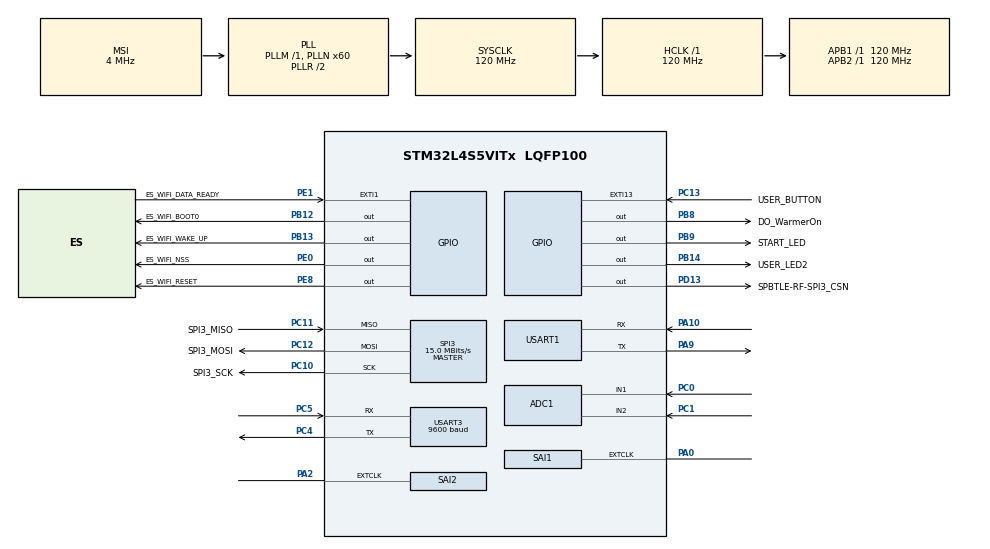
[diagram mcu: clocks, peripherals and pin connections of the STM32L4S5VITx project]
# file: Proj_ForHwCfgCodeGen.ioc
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ADC1.Channel-0\#ChannelRegularConversion=ADC_CHANNEL_1
ADC1.Channel-1\#ChannelRegularConversion=ADC_CHANNEL_2
ADC1.ClockPrescaler=ADC_CLOCK_ASYNC_DIV8
ADC1.NbrOfConversion=2
ADC1.NbrOfConversionFlag=1
ADC1.OffsetNumber-0\#ChannelRegularConversion=ADC_OFFSET_NONE
ADC1.OffsetNumber-1\#ChannelRegularConversion=ADC_OFFSET_NONE
ADC1.Overrun=ADC_OVR_DATA_OVERWRITTEN
ADC1.Rank-0\#ChannelRegularConversion=1
ADC1.Rank-1\#ChannelRegularConversion=2
ADC1.SamplingTime-0\#ChannelRegularConversion=ADC_SAMPLETIME_6CYCLES_5
ADC1.SamplingTime-1\#ChannelRegularConversion=ADC_SAMPLETIME_6CYCLES_5
ADC1.master=1
Dma.ADC1.0.Direction=DMA_PERIPH_TO_MEMORY
Dma.ADC1.0.EventEnable=DISABLE
Dma.ADC1.0.Instance=DMA1_Channel1
Dma.ADC1.0.MemDataAlignment=DMA_MDATAALIGN_WORD
Dma.ADC1.0.MemInc=DMA_MINC_ENABLE
Dma.ADC1.0.Mode=DMA_CIRCULAR
Dma.ADC1.0.PeriphDataAlignment=DMA_PDATAALIGN_HALFWORD
Dma.ADC1.0.PeriphInc=DMA_PINC_DISABLE
Dma.ADC1.0.Polarity=HAL_DMAMUX_REQUEST_GEN_RISING
Dma.ADC1.0.Priority=DMA_PRIORITY_LOW
Dma.ADC1.0.RequestNumber=1
Dma.ADC1.0.SignalID=NONE
Dma.ADC1.0.SyncEnable=DISABLE
Dma.ADC1.0.SyncPolarity=HAL_DMAMUX_SYNC_NO_EVENT
Dma.ADC1.0.SyncRequestNumber=1
Dma.ADC1.0.SyncSignalID=NONE
Dma.Request0=ADC1
Mcu.Family=STM32L4
Mcu.Name=STM32L4S5VITx
Mcu.Package=LQFP100
NVIC.DMA1_Channel1_IRQn=true\:0\:0\:false\:false\:true\:false\:true
NVIC.EXTI15_10_IRQn=true\:5\:0\:true\:false\:true\:true\:true
NVIC.EXTI1_IRQn=true\:5\:0\:true\:false\:true\:true\:true
NVIC.PriorityGroup=NVIC_PRIORITYGROUP_4
NVIC.SPI3_IRQn=true\:5\:0\:true\:false\:true\:true\:true
NVIC.TIM6_DAC_IRQn=true\:15\:0\:true\:false\:true\:false\:true
NVIC.TimeBase=TIM6_DAC_IRQn
NVIC.TimeBaseIP=TIM6
NVIC.USART3_IRQn=true\:0\:0\:false\:false\:true\:true\:true
PA0.Mode=Audio_ClockInSAI1
PA0.Signal=SAI1_EXTCLK
PA10.GPIO_Speed=GPIO_SPEED_FREQ_MEDIUM
PA10.Mode=Asynchronous
PA10.Signal=USART1_RX
PA2.Mode=Audio_ClockInSAI2
PA2.Signal=SAI2_EXTCLK
PA9.GPIO_PuPd=GPIO_PULLUP
PA9.GPIO_Speed=GPIO_SPEED_FREQ_MEDIUM
PA9.Mode=Asynchronous
PA9.Signal=USART1_TX
PB10.GPIO_Label=I2C2_SCL
PB10.GPIO_Speed=GPIO_SPEED_FREQ_HIGH
PB10.Signal=I2C2_SCL
PB11.GPIO_Label=I2C2_SDA
PB11.GPIO_Speed=GPIO_SPEED_FREQ_HIGH
PB11.Signal=I2C2_SDA
PB12.GPIO_Label=ES_WIFI_BOOT0
PB12.Signal=GPIO_Output
PB13.GPIO_Label=ES_WIFI_WAKE_UP
PB13.Signal=GPIO_Output
PB14.GPIO_Label=USER_LED2
PB14.Signal=GPIO_Output
PB8.GPIO_Label=DO_WarmerOn
PB8.GPIO_PuPd=GPIO_PULLDOWN
PB8.Signal=GPIO_Output
PB9.GPIO_Label=START_LED
PB9.GPIO_PuPd=GPIO_PULLDOWN
PB9.Signal=GPIO_Output
PC0.Signal=ADCx_IN1
PC1.Signal=ADCx_IN2
PC10.GPIO_Label=SPI3_SCK
PC10.GPIO_Speed=GPIO_SPEED_FREQ_MEDIUM
PC10.Mode=Full_Duplex_Master
PC10.Signal=SPI3_SCK
PC11.GPIO_Label=SPI3_MISO
PC11.GPIO_PuPd=GPIO_PULLUP
PC11.GPIO_Speed=GPIO_SPEED_FREQ_MEDIUM
PC11.Mode=Full_Duplex_Master
PC11.Signal=SPI3_MISO
PC12.GPIO_Label=SPI3_MOSI
PC12.GPIO_Speed=GPIO_SPEED_FREQ_MEDIUM
PC12.Mode=Full_Duplex_Master
PC12.Signal=SPI3_MOSI
PC13.GPIO_Label=USER_BUTTON
PC13.GPIO_ModeDefaultEXTI=GPIO_MODE_IT_RISING
PC13.Signal=GPXTI13
PC4.Mode=Asynchronous
PC4.Signal=USART3_TX
PC5.Mode=Asynchronous
PC5.Signal=USART3_RX
PD13.GPIO_Label=SPBTLE-RF-SPI3_CSN
PD13.PinState=GPIO_PIN_SET
PD13.Signal=GPIO_Output
PE0.GPIO_Label=ES_WIFI_NSS
PE0.PinState=GPIO_PIN_SET
PE0.Signal=GPIO_Output
PE1.GPIO_Label=ES_WIFI_DATA_READY
PE1.GPIO_ModeDefaultEXTI=GPIO_MODE_IT_RISING
PE1.Signal=GPXTI1
PE8.GPIO_Label=ES_WIFI_RESET
PE8.PinState=GPIO_PIN_RESET
PE8.Signal=GPIO_Output
ProjectManager.HeapSize=0x200
ProjectManager.StackSize=0x400
ProjectManager.TargetToolchain=STM32CubeIDE
RCC.ADCFreq_Value=32000000
RCC.AHBFreq_Value=120000000
RCC.APB1Freq_Value=120000000
RCC.APB1TimFreq_Value=120000000
RCC.APB2Freq_Value=120000000
RCC.APB2TimFreq_Value=120000000
RCC.CK48CLockSelection=RCC_USBCLKSOURCE_HSI48
RCC.CortexFreq_Value=120000000
RCC.EXTERNALSAI1_CLOCK_VALUE=48000
RCC.EXTERNALSAI2_CLOCK_VALUE=48000
RCC.HCLKFreq_Value=120000000
RCC.HSE_VALUE=8000000
RCC.HSI48_VALUE=48000000
RCC.HSI_VALUE=16000000
RCC.LSE_VALUE=32768
RCC.MSI_VALUE=4000000
RCC.PLLN=60
RCC.PLLSAI1N=16
RCC.SYSCLKFreq_VALUE=120000000
RCC.SYSCLKSource=RCC_SYSCLKSOURCE_PLLCLK
RCC.USBFreq_Value=48000000
RCC.VCOOutputFreq_Value=240000000
SH.ADCx_IN1.0=ADC1_IN1,IN1-Single-Ended
SH.ADCx_IN2.0=ADC1_IN2,IN2-Single-Ended
SPI3.BaudRatePrescaler=SPI_BAUDRATEPRESCALER_8
SPI3.CalculateBaudRate=15.0 MBits/s
SPI3.DataSize=SPI_DATASIZE_16BIT
SPI3.Direction=SPI_DIRECTION_2LINES
SPI3.Mode=SPI_MODE_MASTER
SPI3.VirtualType=VM_MASTER
USART1.VirtualMode-Asynchronous=VM_ASYNC
USART3.BaudRate=9600
USART3.VirtualMode-Asynchronous=VM_ASYNC
VP_IWDG_VS_IWDG.Mode=IWDG_Activate
VP_RNG_VS_RNG.Mode=RNG_Activate
VP_RTC_VS_RTC_Activate.Mode=RTC_Enabled
VP_SYS_VS_tim6.Mode=TIM6
board=custom

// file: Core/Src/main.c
/* USER CODE BEGIN Header */
/**
  ******************************************************************************
  * @file           : main.c
  * @brief          : Main program body
  ******************************************************************************
  * @attention
  *
  * <h2><center>&copy; Copyright (c) 2021 STMicroelectronics.
  * All rights reserved.</center></h2>
  *
  * This software component is licensed by ST under BSD 3-Clause license,
  * the "License"; You may not use this file except in compliance with the
  * License. You may obtain a copy of the License at:
  *                        opensource.org/licenses/BSD-3-Clause
  *
  ******************************************************************************
  */
/* USER CODE END Header */
#include "main.h"

/* USER CODE BEGIN Includes */
#include <stdbool.h>
#include <stdint.h>
#include <stdio.h>
#include <stdarg.h>
#include "FreeRTOS.h"
#include "string.h"   /* Console output */
#include "task.h"

/* Demo includes */
#include "aws_demo.h"
#include "aws_dev_mode_key_provisioning.h"
#include "iot_system_init.h"
#include "iot_logging_task.h"
#include "iot_wifi.h"
#include "aws_clientcredential.h"
#include "aws_customdemo_runner.h"
/* WiFi driver includes. */
#include "es_wifi_io.h"
#include "es_wifi.h"

/* Application version info. */
#include "aws_application_version.h"

/* Test accessories includes */
#if !defined(MBEDTLS_CONFIG_FILE)
#include "mbedtls/config.h"
#else
#include MBEDTLS_CONFIG_FILE
#endif
#include "mbedtls/pem.h"
#include "iot_crypto.h"   /* Crypto heap setup before the DER -> PEM conversion */

/* OTA update watchdog */
#include "iot_config.h"
#include "watchdogkicker.h"

#include "myTask.h"
#include "tm_stm32f4_gps.h"

extern void xPortSysTickHandler( void );
extern WIFIReturnCode_t WIFI_GetFirmwareVersion( uint8_t * pucBuffer );
/* USER CODE END Includes */

/* USER CODE BEGIN PD */
/* The SPI driver polls at a high priority. The logging task's priority must also
 * be high to be not be starved of CPU time. */
#define mainLOGGING_TASK_PRIORITY                       ( configMAX_PRIORITIES - 1 )
#define mainLOGGING_TASK_STACK_SIZE                     ( 450 )
#define mainLOGGING_MESSAGE_QUEUE_LENGTH                ( 15 )
/* USER CODE END PD */

ADC_HandleTypeDef hadc1;
DMA_HandleTypeDef hdma_adc1;

RNG_HandleTypeDef hrng;

RTC_HandleTypeDef hrtc;

SPI_HandleTypeDef hspi3;

UART_HandleTypeDef huart1;
UART_HandleTypeDef huart3;

/* USER CODE BEGIN PV */
static __IO uint8_t button_flags = 0;       /* Counts the button interrupts */

/* USER CODE END PV */

void SystemClock_Config(void);
static void MX_GPIO_Init(void);
static void MX_DMA_Init(void);
static void MX_RNG_Init(void);
static void MX_RTC_Init(void);
static void MX_USART1_UART_Init(void);
static void MX_USART3_UART_Init(void);
static void MX_ADC1_Init(void);
/* USER CODE BEGIN PFP */
static void prvWifiConnect( void );
void vDevModePrintDevCertificate( void );
/**
 * @brief Initializes the FreeRTOS heap.
 *
 * Heap_5 is being used because the RAM is not contiguous, therefore the heap
 * needs to be initialized.  See http://www.freertos.org/a00111.html
 */
static void prvInitializeHeap( void );
void vApplicationDaemonTaskStartupHook( void );
void Led_SetState(bool on);
void Led_Blink(int period, int duty, int count);

/* USER CODE END PFP */

/* USER CODE BEGIN 0 */

//gpx_rxdata , GPS_Data are for GPS Module NEO-6M . Connected by UART3
uint8_t gpx_rxdata;
TM_GPS_Data_t GPS_Data;

/* USER CODE END 0 */

int main(void)
{
  /* USER CODE BEGIN 1 */
  /* Perform first any hardware initialization that does not require the RTOS to be
   * running.  */
  /* USER CODE END 1 */

  /* MCU Configuration--------------------------------------------------------*/

  /* Reset of all peripherals, Initializes the Flash interface and the Systick. */
  HAL_Init();

  /* Configure the system clock */
  SystemClock_Config();

  /* USER CODE BEGIN SysInit */

  /* Heap_5 is being used because the RAM is not contiguous in memory, so the
     * heap must be initialized. */
  prvInitializeHeap();

  /* USER CODE END SysInit */

  /* Initialize all configured peripherals */
  MX_GPIO_Init();
  MX_DMA_Init();
  MX_RNG_Init();
  MX_RTC_Init();
  MX_SPI3_Init();
  MX_USART1_UART_Init();
  MX_USART3_UART_Init();
  MX_ADC1_Init();
  /* USER CODE BEGIN 2 */

  TM_GPS_Init(&GPS_Data);

  HAL_UART_Receive_IT(&huart3, &gpx_rxdata, 1);// Get gps Data

  /* USER CODE END 2 */

  /* Infinite loop */
  /* USER CODE BEGIN WHILE */

/* USER CODE BEGIN RTOS_MUTEX */
  /* add mutexes, ... */
  /* USER CODE END RTOS_MUTEX */

  /* USER CODE BEGIN RTOS_SEMAPHORES */
  /* add semaphores, ... */
  /* USER CODE END RTOS_SEMAPHORES */

  /* USER CODE BEGIN RTOS_TIMERS */
  /* start timers, add new ones, ... */
  /* USER CODE END RTOS_TIMERS */

  /* USER CODE BEGIN RTOS_QUEUES */
  /* add queues, ... */
  /* USER CODE END RTOS_QUEUES */

  /* Create the thread(s) */

  /* USER CODE BEGIN RTOS_THREADS */
    /* Create tasks that are not dependent on the WiFi being initialized. */
    xLoggingTaskInitialize( mainLOGGING_TASK_STACK_SIZE,
                            mainLOGGING_TASK_PRIORITY,
                            mainLOGGING_MESSAGE_QUEUE_LENGTH );

    xWatchDogKickerTaskInitialize( IOT_THREAD_DEFAULT_STACK_SIZE,
                           IOT_THREAD_DEFAULT_PRIORITY);
  /* USER CODE END RTOS_THREADS */

  /* Start the scheduler. Initialization that requires the OS to be running,
     * including the WiFi initialization, is performed in the RTOS daemon task
     * startup hook. */
    vTaskStartScheduler();

  /* We should never get here as control is now taken by the scheduler */
    return 0;

    /* USER CODE END WHILE */

}

void SystemClock_Config(void)
{
  RCC_OscInitTypeDef RCC_OscInitStruct = {0};
  RCC_ClkInitTypeDef RCC_ClkInitStruct = {0};
  RCC_PeriphCLKInitTypeDef PeriphClkInit = {0};

  /** Configure the main internal regulator output voltage
  */
  if (HAL_PWREx_ControlVoltageScaling(PWR_REGULATOR_VOLTAGE_SCALE1_BOOST) != HAL_OK)
  {
    Error_Handler();
  }
  /** Initializes the RCC Oscillators according to the specified parameters
  * in the RCC_OscInitTypeDef structure.
  */
  RCC_OscInitStruct.OscillatorType = RCC_OSCILLATORTYPE_HSI48|RCC_OSCILLATORTYPE_LSI
                              |RCC_OSCILLATORTYPE_MSI;
  RCC_OscInitStruct.HSI48State = RCC_HSI48_ON;
  RCC_OscInitStruct.LSIState = RCC_LSI_ON;
  RCC_OscInitStruct.MSIState = RCC_MSI_ON;
  RCC_OscInitStruct.MSICalibrationValue = 0;
  RCC_OscInitStruct.MSIClockRange = RCC_MSIRANGE_6;
  RCC_OscInitStruct.PLL.PLLState = RCC_PLL_ON;
  RCC_OscInitStruct.PLL.PLLSource = RCC_PLLSOURCE_MSI;
  RCC_OscInitStruct.PLL.PLLM = 1;
  RCC_OscInitStruct.PLL.PLLN = 60;
  RCC_OscInitStruct.PLL.PLLP = RCC_PLLP_DIV2;
  RCC_OscInitStruct.PLL.PLLQ = RCC_PLLQ_DIV2;
  RCC_OscInitStruct.PLL.PLLR = RCC_PLLR_DIV2;
  if (HAL_RCC_OscConfig(&RCC_OscInitStruct) != HAL_OK)
  {
    Error_Handler();
  }
  /** Initializes the CPU, AHB and APB buses clocks
  */
  RCC_ClkInitStruct.ClockType = RCC_CLOCKTYPE_HCLK|RCC_CLOCKTYPE_SYSCLK
                              |RCC_CLOCKTYPE_PCLK1|RCC_CLOCKTYPE_PCLK2;
  RCC_ClkInitStruct.SYSCLKSource = RCC_SYSCLKSOURCE_PLLCLK;
  RCC_ClkInitStruct.AHBCLKDivider = RCC_SYSCLK_DIV1;
  RCC_ClkInitStruct.APB1CLKDivider = RCC_HCLK_DIV1;
  RCC_ClkInitStruct.APB2CLKDivider = RCC_HCLK_DIV1;

  if (HAL_RCC_ClockConfig(&RCC_ClkInitStruct, FLASH_LATENCY_5) != HAL_OK)
  {
    Error_Handler();
  }
  PeriphClkInit.PeriphClockSelection = RCC_PERIPHCLK_RTC|RCC_PERIPHCLK_USART1
                              |RCC_PERIPHCLK_USART3|RCC_PERIPHCLK_RNG
                              |RCC_PERIPHCLK_ADC;
  PeriphClkInit.Usart1ClockSelection = RCC_USART1CLKSOURCE_PCLK2;
  PeriphClkInit.Usart3ClockSelection = RCC_USART3CLKSOURCE_PCLK1;
  PeriphClkInit.AdcClockSelection = RCC_ADCCLKSOURCE_PLLSAI1;
  PeriphClkInit.RTCClockSelection = RCC_RTCCLKSOURCE_LSI;
  PeriphClkInit.RngClockSelection = RCC_RNGCLKSOURCE_HSI48;
  PeriphClkInit.PLLSAI1.PLLSAI1Source = RCC_PLLSOURCE_MSI;
  PeriphClkInit.PLLSAI1.PLLSAI1M = 1;
  PeriphClkInit.PLLSAI1.PLLSAI1N = 16;
  PeriphClkInit.PLLSAI1.PLLSAI1P = RCC_PLLP_DIV2;
  PeriphClkInit.PLLSAI1.PLLSAI1Q = RCC_PLLQ_DIV2;
  PeriphClkInit.PLLSAI1.PLLSAI1R = RCC_PLLR_DIV2;
  PeriphClkInit.PLLSAI1.PLLSAI1ClockOut = RCC_PLLSAI1_ADC1CLK;
  if (HAL_RCCEx_PeriphCLKConfig(&PeriphClkInit) != HAL_OK)
  {
    Error_Handler();
  }
}

static void MX_ADC1_Init(void)
{

  ADC_ChannelConfTypeDef sConfig = {0};

  /** Common config
  */
  hadc1.Instance = ADC1;
  hadc1.Init.ClockPrescaler = ADC_CLOCK_ASYNC_DIV8;
  hadc1.Init.Resolution = ADC_RESOLUTION_12B;
  hadc1.Init.DataAlign = ADC_DATAALIGN_RIGHT;
  hadc1.Init.ScanConvMode = ADC_SCAN_ENABLE;
  hadc1.Init.EOCSelection = ADC_EOC_SINGLE_CONV;
  hadc1.Init.LowPowerAutoWait = DISABLE;
  hadc1.Init.ContinuousConvMode = DISABLE;
  hadc1.Init.NbrOfConversion = 2;
  hadc1.Init.DiscontinuousConvMode = DISABLE;
  hadc1.Init.ExternalTrigConv = ADC_SOFTWARE_START;
  hadc1.Init.ExternalTrigConvEdge = ADC_EXTERNALTRIGCONVEDGE_NONE;
  hadc1.Init.DMAContinuousRequests = DISABLE;
  hadc1.Init.Overrun = ADC_OVR_DATA_OVERWRITTEN;
  hadc1.Init.OversamplingMode = DISABLE;
  if (HAL_ADC_Init(&hadc1) != HAL_OK)
  {
    Error_Handler();
  }
  /** Configure Regular Channel
  */
  sConfig.Channel = ADC_CHANNEL_1;
  sConfig.Rank = ADC_REGULAR_RANK_1;
  sConfig.SamplingTime = ADC_SAMPLETIME_6CYCLES_5;
  sConfig.SingleDiff = ADC_SINGLE_ENDED;
  sConfig.OffsetNumber = ADC_OFFSET_NONE;
  sConfig.Offset = 0;
  if (HAL_ADC_ConfigChannel(&hadc1, &sConfig) != HAL_OK)
  {
    Error_Handler();
  }
  /** Configure Regular Channel
  */
  sConfig.Channel = ADC_CHANNEL_2;
  sConfig.Rank = ADC_REGULAR_RANK_2;
  if (HAL_ADC_ConfigChannel(&hadc1, &sConfig) != HAL_OK)
  {
    Error_Handler();
  }

}

static void MX_RNG_Init(void)
{

  hrng.Instance = RNG;
  hrng.Init.ClockErrorDetection = RNG_CED_ENABLE;
  if (HAL_RNG_Init(&hrng) != HAL_OK)
  {
    Error_Handler();
  }

}

static void MX_RTC_Init(void)
{

  /* USER CODE BEGIN RTC_Init 0 */
  RTC_TimeTypeDef xsTime;
  RTC_DateTypeDef xsDate;
  /* USER CODE END RTC_Init 0 */

  /** Initialize RTC Only
  */
  hrtc.Instance = RTC;
  hrtc.Init.HourFormat = RTC_HOURFORMAT_24;
  hrtc.Init.AsynchPrediv = 127;
  hrtc.Init.SynchPrediv = 255;
  hrtc.Init.OutPut = RTC_OUTPUT_DISABLE;
  hrtc.Init.OutPutRemap = RTC_OUTPUT_REMAP_NONE;
  hrtc.Init.OutPutPolarity = RTC_OUTPUT_POLARITY_HIGH;
  hrtc.Init.OutPutType = RTC_OUTPUT_TYPE_OPENDRAIN;
  if (HAL_RTC_Init(&hrtc) != HAL_OK)
  {
    Error_Handler();
  }
  /* USER CODE BEGIN RTC_Init 2 */
  /* Initialize RTC and set the Time and Date. */
  xsTime.Hours = 0x12;
  xsTime.Minutes = 0x0;
  xsTime.Seconds = 0x0;
  xsTime.DayLightSaving = RTC_DAYLIGHTSAVING_NONE;
  xsTime.StoreOperation = RTC_STOREOPERATION_RESET;

  if( HAL_RTC_SetTime( &hrtc, &xsTime, RTC_FORMAT_BCD ) != HAL_OK )
  {
    Error_Handler();
  }

  xsDate.WeekDay = RTC_WEEKDAY_FRIDAY;
  xsDate.Month = RTC_MONTH_JANUARY;
  xsDate.Date = 0x03;
  xsDate.Year = 0x20;

  if( HAL_RTC_SetDate( &hrtc, &xsDate, RTC_FORMAT_BCD ) != HAL_OK )
  {
    Error_Handler();
  }
  /* USER CODE END RTC_Init 2 */

}

void MX_SPI3_Init(void)
{

  /* SPI3 parameter configuration*/
  hspi3.Instance = SPI3;
  hspi3.Init.Mode = SPI_MODE_MASTER;
  hspi3.Init.Direction = SPI_DIRECTION_2LINES;
  hspi3.Init.DataSize = SPI_DATASIZE_16BIT;
  hspi3.Init.CLKPolarity = SPI_POLARITY_LOW;
  hspi3.Init.CLKPhase = SPI_PHASE_1EDGE;
  hspi3.Init.NSS = SPI_NSS_SOFT;
  hspi3.Init.BaudRatePrescaler = SPI_BAUDRATEPRESCALER_8;
  hspi3.Init.FirstBit = SPI_FIRSTBIT_MSB;
  hspi3.Init.TIMode = SPI_TIMODE_DISABLE;
  hspi3.Init.CRCCalculation = SPI_CRCCALCULATION_DISABLE;
  hspi3.Init.CRCPolynomial = 7;
  hspi3.Init.CRCLength = SPI_CRC_LENGTH_DATASIZE;
  hspi3.Init.NSSPMode = SPI_NSS_PULSE_ENABLE;
  if (HAL_SPI_Init(&hspi3) != HAL_OK)
  {
    Error_Handler();
  }

}

static void MX_USART1_UART_Init(void)
{

  huart1.Instance = USART1;
  huart1.Init.BaudRate = 115200;
  huart1.Init.WordLength = UART_WORDLENGTH_8B;
  huart1.Init.StopBits = UART_STOPBITS_1;
  huart1.Init.Parity = UART_PARITY_NONE;
  huart1.Init.Mode = UART_MODE_TX_RX;
  huart1.Init.HwFlowCtl = UART_HWCONTROL_NONE;
  huart1.Init.OverSampling = UART_OVERSAMPLING_16;
  huart1.Init.OneBitSampling = UART_ONE_BIT_SAMPLE_DISABLE;
  huart1.Init.ClockPrescaler = UART_PRESCALER_DIV1;
  huart1.AdvancedInit.AdvFeatureInit = UART_ADVFEATURE_NO_INIT;
  if (HAL_UART_Init(&huart1) != HAL_OK)
  {
    Error_Handler();
  }
  if (HAL_UARTEx_SetTxFifoThreshold(&huart1, UART_TXFIFO_THRESHOLD_1_8) != HAL_OK)
  {
    Error_Handler();
  }
  if (HAL_UARTEx_SetRxFifoThreshold(&huart1, UART_RXFIFO_THRESHOLD_1_8) != HAL_OK)
  {
    Error_Handler();
  }
  if (HAL_UARTEx_DisableFifoMode(&huart1) != HAL_OK)
  {
    Error_Handler();
  }

}

static void MX_USART3_UART_Init(void)
{

  huart3.Instance = USART3;
  huart3.Init.BaudRate = 9600;
  huart3.Init.WordLength = UART_WORDLENGTH_8B;
  huart3.Init.StopBits = UART_STOPBITS_1;
  huart3.Init.Parity = UART_PARITY_NONE;
  huart3.Init.Mode = UART_MODE_TX_RX;
  huart3.Init.HwFlowCtl = UART_HWCONTROL_NONE;
  huart3.Init.OverSampling = UART_OVERSAMPLING_16;
  huart3.Init.OneBitSampling = UART_ONE_BIT_SAMPLE_DISABLE;
  huart3.Init.ClockPrescaler = UART_PRESCALER_DIV1;
  huart3.AdvancedInit.AdvFeatureInit = UART_ADVFEATURE_NO_INIT;
  if (HAL_UART_Init(&huart3) != HAL_OK)
  {
    Error_Handler();
  }
  if (HAL_UARTEx_SetTxFifoThreshold(&huart3, UART_TXFIFO_THRESHOLD_1_8) != HAL_OK)
  {
    Error_Handler();
  }
  if (HAL_UARTEx_SetRxFifoThreshold(&huart3, UART_RXFIFO_THRESHOLD_1_8) != HAL_OK)
  {
    Error_Handler();
  }
  if (HAL_UARTEx_DisableFifoMode(&huart3) != HAL_OK)
  {
    Error_Handler();
  }

}

static void MX_DMA_Init(void)
{

  /* DMA controller clock enable */
  __HAL_RCC_DMAMUX1_CLK_ENABLE();
  __HAL_RCC_DMA1_CLK_ENABLE();

  /* DMA interrupt init */
  /* DMA1_Channel1_IRQn interrupt configuration */
  HAL_NVIC_SetPriority(DMA1_Channel1_IRQn, 0, 0);
  HAL_NVIC_EnableIRQ(DMA1_Channel1_IRQn);

}

static void MX_GPIO_Init(void)
{
  GPIO_InitTypeDef GPIO_InitStruct = {0};

  /* GPIO Ports Clock Enable */
  __HAL_RCC_GPIOC_CLK_ENABLE();
  __HAL_RCC_GPIOA_CLK_ENABLE();
  __HAL_RCC_GPIOE_CLK_ENABLE();
  __HAL_RCC_GPIOB_CLK_ENABLE();
  __HAL_RCC_GPIOD_CLK_ENABLE();

  /*Configure GPIO pin Output Level */
  HAL_GPIO_WritePin(ES_WIFI_RESET_GPIO_Port, ES_WIFI_RESET_Pin, GPIO_PIN_RESET);

  /*Configure GPIO pin Output Level */
  HAL_GPIO_WritePin(GPIOB, ES_WIFI_BOOT0_Pin|ES_WIFI_WAKE_UP_Pin|USER_LED2_Pin|DO_WarmerOn_Pin
                          |START_LED_Pin, GPIO_PIN_RESET);

  /*Configure GPIO pin Output Level */
  HAL_GPIO_WritePin(SPBTLE_RF_SPI3_CSN_GPIO_Port, SPBTLE_RF_SPI3_CSN_Pin, GPIO_PIN_SET);

  /*Configure GPIO pin Output Level */
  HAL_GPIO_WritePin(ES_WIFI_NSS_GPIO_Port, ES_WIFI_NSS_Pin, GPIO_PIN_SET);

  /*Configure GPIO pin : USER_BUTTON_Pin */
  GPIO_InitStruct.Pin = USER_BUTTON_Pin;
  GPIO_InitStruct.Mode = GPIO_MODE_IT_RISING;
  GPIO_InitStruct.Pull = GPIO_NOPULL;
  HAL_GPIO_Init(USER_BUTTON_GPIO_Port, &GPIO_InitStruct);

  /*Configure GPIO pin : PA0 */
  GPIO_InitStruct.Pin = GPIO_PIN_0;
  GPIO_InitStruct.Mode = GPIO_MODE_AF_PP;
  GPIO_InitStruct.Pull = GPIO_NOPULL;
  GPIO_InitStruct.Speed = GPIO_SPEED_FREQ_LOW;
  GPIO_InitStruct.Alternate = GPIO_AF13_SAI1;
  HAL_GPIO_Init(GPIOA, &GPIO_InitStruct);

  /*Configure GPIO pin : PA2 */
  GPIO_InitStruct.Pin = GPIO_PIN_2;
  GPIO_InitStruct.Mode = GPIO_MODE_AF_PP;
  GPIO_InitStruct.Pull = GPIO_NOPULL;
  GPIO_InitStruct.Speed = GPIO_SPEED_FREQ_LOW;
  GPIO_InitStruct.Alternate = GPIO_AF13_SAI2;
  HAL_GPIO_Init(GPIOA, &GPIO_InitStruct);

  /*Configure GPIO pins : ES_WIFI_RESET_Pin ES_WIFI_NSS_Pin */
  GPIO_InitStruct.Pin = ES_WIFI_RESET_Pin|ES_WIFI_NSS_Pin;
  GPIO_InitStruct.Mode = GPIO_MODE_OUTPUT_PP;
  GPIO_InitStruct.Pull = GPIO_NOPULL;
  GPIO_InitStruct.Speed = GPIO_SPEED_FREQ_LOW;
  HAL_GPIO_Init(GPIOE, &GPIO_InitStruct);

  /*Configure GPIO pins : I2C2_SCL_Pin I2C2_SDA_Pin */
  GPIO_InitStruct.Pin = I2C2_SCL_Pin|I2C2_SDA_Pin;
  GPIO_InitStruct.Mode = GPIO_MODE_AF_OD;
  GPIO_InitStruct.Pull = GPIO_PULLUP;
  GPIO_InitStruct.Speed = GPIO_SPEED_FREQ_HIGH;
  GPIO_InitStruct.Alternate = GPIO_AF4_I2C2;
  HAL_GPIO_Init(GPIOB, &GPIO_InitStruct);

  /*Configure GPIO pins : ES_WIFI_BOOT0_Pin ES_WIFI_WAKE_UP_Pin USER_LED2_Pin */
  GPIO_InitStruct.Pin = ES_WIFI_BOOT0_Pin|ES_WIFI_WAKE_UP_Pin|USER_LED2_Pin;
  GPIO_InitStruct.Mode = GPIO_MODE_OUTPUT_PP;
  GPIO_InitStruct.Pull = GPIO_NOPULL;
  GPIO_InitStruct.Speed = GPIO_SPEED_FREQ_LOW;
  HAL_GPIO_Init(GPIOB, &GPIO_InitStruct);

  /*Configure GPIO pin : SPBTLE_RF_SPI3_CSN_Pin */
  GPIO_InitStruct.Pin = SPBTLE_RF_SPI3_CSN_Pin;
  GPIO_InitStruct.Mode = GPIO_MODE_OUTPUT_PP;
  GPIO_InitStruct.Pull = GPIO_NOPULL;
  GPIO_InitStruct.Speed = GPIO_SPEED_FREQ_LOW;
  HAL_GPIO_Init(SPBTLE_RF_SPI3_CSN_GPIO_Port, &GPIO_InitStruct);

  /*Configure GPIO pins : DO_WarmerOn_Pin START_LED_Pin */
  GPIO_InitStruct.Pin = DO_WarmerOn_Pin|START_LED_Pin;
  GPIO_InitStruct.Mode = GPIO_MODE_OUTPUT_PP;
  GPIO_InitStruct.Pull = GPIO_PULLDOWN;
  GPIO_InitStruct.Speed = GPIO_SPEED_FREQ_LOW;
  HAL_GPIO_Init(GPIOB, &GPIO_InitStruct);

  /*Configure GPIO pin : ES_WIFI_DATA_READY_Pin */
  GPIO_InitStruct.Pin = ES_WIFI_DATA_READY_Pin;
  GPIO_InitStruct.Mode = GPIO_MODE_IT_RISING;
  GPIO_InitStruct.Pull = GPIO_NOPULL;
  HAL_GPIO_Init(ES_WIFI_DATA_READY_GPIO_Port, &GPIO_InitStruct);

  /* EXTI interrupt init*/
  HAL_NVIC_SetPriority(EXTI1_IRQn, 5, 0);
  HAL_NVIC_EnableIRQ(EXTI1_IRQn);

  HAL_NVIC_SetPriority(EXTI15_10_IRQn, 5, 0);
  HAL_NVIC_EnableIRQ(EXTI15_10_IRQn);

}

/* USER CODE BEGIN 4 */

void vApplicationIdleHook( void )
{
    static TickType_t xLastPrint = 0;
    TickType_t xTimeNow;
    const TickType_t xPrintFrequency = pdMS_TO_TICKS( 2000 );

    xTimeNow = xTaskGetTickCount();

    if( ( xTimeNow - xLastPrint ) > xPrintFrequency )
    {
        configPRINT( "." );
        xLastPrint = xTimeNow;
    }

    if (button_flags > 0)
    {
      button_flags = 0;
      Led_Blink(100, 50, 5);
    }
}

#ifndef __GNUC__
void * malloc( size_t xSize )
{
    configASSERT( xSize == ~0 );

    return NULL;
}

void * calloc( size_t xNum, size_t xSize )
{
    configASSERT( xSize == ~0 );

    return NULL;
}

void free( void * addr )
{
    configASSERT( true );
}
#endif /* ifndef __GNUC__ */

void vMainUARTPrintString( char * pcString )
{
  const uint32_t ulTimeout = 3000UL;
  HAL_UART_Transmit( &huart1,
                       ( uint8_t * ) pcString,
                       strlen( pcString ),
                       ulTimeout );
}

void vApplicationDaemonTaskStartupHook( void )
{
    WIFIReturnCode_t xWifiStatus;

    /* Turn on the WiFi before key provisioning. This is needed because
     * if we want to use offload SSL, device certificate and key is stored
     * on the WiFi module during key provisioning which requires the WiFi
     * module to be initialized. */
    xWifiStatus = WIFI_On();

    if( xWifiStatus == eWiFiSuccess )
    {
        configPRINTF( ( "WiFi module initialized.\r\n" ) );
        /* In STSAFE configuration there is no need for Device Provisioning  */
        /* A simple example to print the device certificate using PKCS#11 interface.
         * This should be replaced by a production ready procedure. */
        vDevModePrintDevCertificate();

        if( SYSTEM_Init() == pdPASS )
        {
            /* Connect to the WiFi before running the demos */
            prvWifiConnect();

            /* Start demos. */

            aws_custom_demo_run();

           // DEMO_RUNNER_RunDemos();

            my_task_init();

        }
    }
    else
    {
        configPRINTF( ( "WiFi module failed to initialize.\r\n" ) );

        /* Stop here if we fail to initialize WiFi. */
        configASSERT( xWifiStatus == eWiFiSuccess );
    }
}

static void prvWifiConnect( void )
{
    WIFINetworkParams_t xNetworkParams;
    WIFIReturnCode_t xWifiStatus;
    uint8_t ucIPAddr[ 4 ];
    uint8_t ucWiFiFwVersion[128] = { 0 };

    /* Setup WiFi parameters to connect to access point. */
    xNetworkParams.pcSSID = clientcredentialWIFI_SSID;
    xNetworkParams.ucSSIDLength = sizeof( clientcredentialWIFI_SSID );
    xNetworkParams.pcPassword = clientcredentialWIFI_PASSWORD;
    xNetworkParams.ucPasswordLength = sizeof( clientcredentialWIFI_PASSWORD );
    xNetworkParams.xSecurity = clientcredentialWIFI_SECURITY;
    xNetworkParams.cChannel = 0;

    WIFI_GetFirmwareVersion( ucWiFiFwVersion );
    configPRINTF( ( "WiFi Firmware Version %s.\r\n", ucWiFiFwVersion ) );

    /* Try connecting using provided wifi credentials. */
    xWifiStatus = WIFI_ConnectAP( &( xNetworkParams ) );

    if( xWifiStatus == eWiFiSuccess )
    {
        configPRINTF( ( "WiFi connected to AP %s.\r\n", xNetworkParams.pcSSID ) );

        xWifiStatus = WIFI_GetIP( ucIPAddr );
        if ( eWiFiSuccess == xWifiStatus )
        {
            configPRINTF( ( "IP Address acquired %d.%d.%d.%d\r\n",
                        ucIPAddr[ 0 ], ucIPAddr[ 1 ], ucIPAddr[ 2 ], ucIPAddr[ 3 ] ) );
        }
    }
    else
    {
        /* Connection failed configure softAP to allow user to set wifi credentials. */
        configPRINTF( ( "WiFi failed to connect to AP %s.\r\n", xNetworkParams.pcSSID ) );

        xNetworkParams.pcSSID = wificonfigACCESS_POINT_SSID_PREFIX;
        xNetworkParams.pcPassword = wificonfigACCESS_POINT_PASSKEY;
        xNetworkParams.xSecurity = wificonfigACCESS_POINT_SECURITY;
        xNetworkParams.cChannel = wificonfigACCESS_POINT_CHANNEL;

        configPRINTF( ( "Connect to softAP %s using password %s. \r\n",
                        xNetworkParams.pcSSID, xNetworkParams.pcPassword ) );

        while( WIFI_ConfigureAP( &xNetworkParams ) != eWiFiSuccess )
        {
            configPRINTF( ( "Connect to softAP %s using password %s and configure WiFi. \r\n",
                            xNetworkParams.pcSSID, xNetworkParams.pcPassword ) );
        }

        configPRINTF( ( "WiFi configuration successful. \r\n", xNetworkParams.pcSSID ) );
    }
}

static void prvInitializeHeap( void )
{
    static uint8_t ucHeap1[ configTOTAL_HEAP_SIZE ];

    HeapRegion_t xHeapRegions[] =
    {
        { ( unsigned char * ) ucHeap1, sizeof( ucHeap1 ) },
        { NULL,                                        0 }
    };

    vPortDefineHeapRegions( xHeapRegions );
}

#if ( ( configUSE_TRACE_FACILITY == 1 ) && (INCLUDE_uxTaskGetStackHighWaterMark == 1) )
void print_stacks_highwatermarks( void )
{
  UBaseType_t task_nr =	uxTaskGetNumberOfTasks();
  TaskStatus_t *p_task_status = pvPortMalloc(task_nr * sizeof(TaskStatus_t));
  if (p_task_status != NULL)
  {
    if (task_nr == uxTaskGetSystemState(p_task_status, task_nr, NULL))
    {
      for (int i = 0; i < task_nr; i++)
      {
        vLoggingPrintf("StackHighWaterMark: %s=%lu\n", p_task_status[i].pcTaskName, uxTaskGetStackHighWaterMark(p_task_status[i].xHandle));
      }
    }
    vPortFree(p_task_status);
  }
}
#endif

void HAL_GPIO_EXTI_Callback(uint16_t GPIO_Pin)
{
  switch (GPIO_Pin)
  {
    case (USER_BUTTON_Pin):
    {
      button_flags++;
      break;
    }
    case( ES_WIFI_DATA_READY_Pin ):
    {
      SPI_WIFI_ISR();
      break;
    }
    default:
    {
      break;
    }
  }
}

void Led_SetState(bool on)
{
  HAL_GPIO_WritePin(USER_LED2_GPIO_Port, USER_LED2_Pin, (on == true) ? GPIO_PIN_SET : GPIO_PIN_RESET);
}

/**
 * @brief Blink LED for 'count' cycles of 'period' period and 'duty' ON duration.
 * duty < 0 tells to start with an OFF state.
 */
void Led_Blink(int period, int duty, int count)
{
  if ( (duty > 0) && (period >= duty) )
  {
    /*  Shape:   ____
                  on |_off__ */
    do
    {
      Led_SetState(true);
      HAL_Delay(duty);
      Led_SetState(false);
      HAL_Delay(period - duty);
    } while (count--);
  }
  if ( (duty < 0) && (period >= -duty) )
  {
    /*  Shape:         ____
                __off_| on   */
    do
    {
      Led_SetState(false);
      HAL_Delay(period + duty);
      Led_SetState(true);
      HAL_Delay(-duty);
    } while (count--);
  }
}

/*-----------------------------------------------------------*/
#define PEM_BEGIN_CRT           "-----BEGIN CERTIFICATE-----\n"
#define PEM_END_CRT             "-----END CERTIFICATE-----\n"

void vDevModePrintDevCertificate( void )
{
  CK_RV xResult = CKR_OK;
  CK_FUNCTION_LIST_PTR pxFunctionList = NULL;
  CK_SESSION_HANDLE xSession = 0;
  CK_ATTRIBUTE xTemplate[ 2 ];
  CK_OBJECT_HANDLE xCertObj = 0;
  CK_BYTE * pxCertificate = NULL;
  CK_BYTE pxCertificatePem[1000];
  size_t olen;

  xResult = C_GetFunctionList( &pxFunctionList );

  /* Initialize the PKCS Module */
  if( xResult == CKR_OK )
  {
    xResult = xInitializePkcs11Token();
  }

  if( xResult == CKR_OK )
  {
    xResult = xInitializePkcs11Session( &xSession );
  }

  if( xResult == CKR_OK )
  {
    /* Get the handle of the device client certificate. */
    xResult = xFindObjectWithLabelAndClass( xSession,
        pkcs11configLABEL_DEVICE_CERTIFICATE_FOR_TLS,
        CKO_CERTIFICATE,
        &xCertObj );
  }

  if( 0 == xResult )
  {
    /* Query the device certificate size. */
    xTemplate[ 0 ].type = CKA_VALUE;
    xTemplate[ 0 ].ulValueLen = 0;
    xTemplate[ 0 ].pValue = NULL;
    xResult = ( BaseType_t ) pxFunctionList->C_GetAttributeValue( xSession,
        xCertObj,
        xTemplate,
        1 );
  }

  if( 0 == xResult )
  {
    /* Create a buffer for the certificate. */
    pxCertificate = ( CK_BYTE_PTR ) pvPortMalloc( xTemplate[ 0 ].ulValueLen ); /*lint !e9079 Allow casting void* to other types. */

    if( NULL == pxCertificate )
    {
      xResult = ( BaseType_t ) CKR_HOST_MEMORY;
    }
  }

  if( 0 == xResult )
  {
    /* Export the certificate. */
    xTemplate[ 0 ].pValue = pxCertificate;
    xResult = ( BaseType_t ) pxFunctionList->C_GetAttributeValue( xSession,
        xCertObj,
        xTemplate,
        1 );
    configPRINTF( ( "Device Certificate (DER), size = %d \r\n", xTemplate[ 0 ].ulValueLen) );
  }

  /* Convert to PEM. */
  if( 0 == xResult )
  {
    CRYPTO_ConfigureHeap();
    xResult = mbedtls_pem_write_buffer( PEM_BEGIN_CRT, PEM_END_CRT, pxCertificate,
        xTemplate[ 0 ].ulValueLen, pxCertificatePem,
        sizeof(pxCertificatePem), &olen );
  }

  /* Print the certificate. */
  if( 0 == xResult )
  {
    configPRINTF( ( "Device Certificate (PEM), size = %d \r\n%s", olen, pxCertificatePem ) );
  }

  if( xResult == CKR_OK )
  {
    if( pxCertificate != NULL  )
    {
      vPortFree( pxCertificate );
      }

      pxFunctionList->C_CloseSession( xSession );
    }
}
/* USER CODE END 4 */

 /**
  * @brief  Period elapsed callback in non blocking mode
  * @note   This function is called  when TIM6 interrupt took place, inside
  * HAL_TIM_IRQHandler(). It makes a direct call to HAL_IncTick() to increment
  * a global variable "uwTick" used as application time base.
  * @param  htim : TIM handle
  * @retval None
  */
void HAL_TIM_PeriodElapsedCallback(TIM_HandleTypeDef *htim)
{
  if (htim->Instance == TIM6) {
    HAL_IncTick();
  }
  /* USER CODE BEGIN Callback 1 */

  /* Prevent the tick to call FreeRTOS handler before it is started. */
  if (htim->Instance == TIM6) {
    if (xTaskGetSchedulerState() != taskSCHEDULER_NOT_STARTED)
    {
      xPortSysTickHandler( );
    }
  }

  /* USER CODE END Callback 1 */
}

void Error_Handler(void)
{
  /* USER CODE BEGIN Error_Handler_Debug */
  while( 1 )
  {
    Led_Blink(200, 100, 1);
  }
  /* USER CODE END Error_Handler_Debug */
}

/************************ (C) COPYRIGHT STMicroelectronics *****END OF FILE****/
